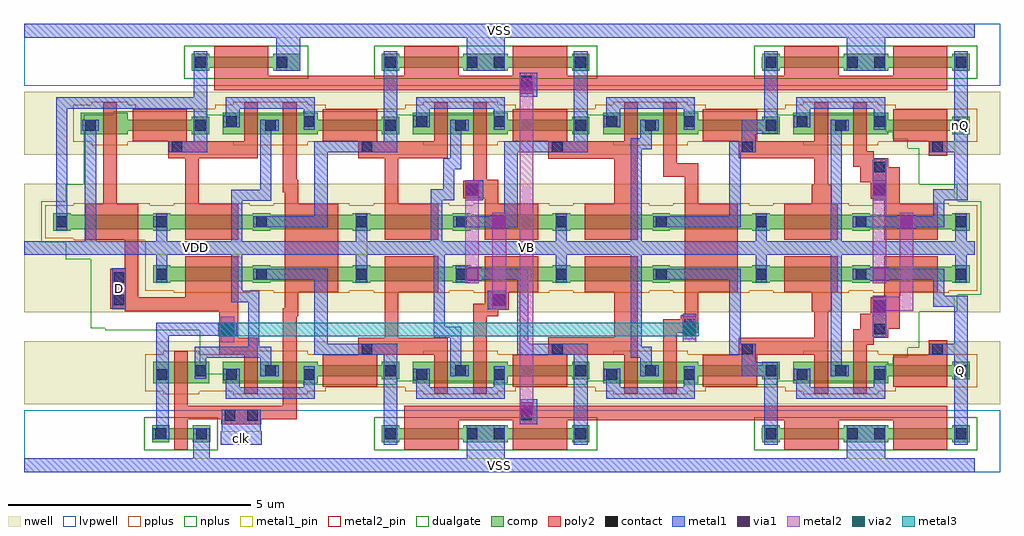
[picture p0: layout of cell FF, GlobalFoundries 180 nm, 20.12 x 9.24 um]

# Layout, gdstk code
import gdstk
lib = gdstk.Library(unit=1e-6, precision=1e-09)
def R(c, l, rs):  # rectangles x0, y0, x1, y1
    for r in rs: c.add(gdstk.rectangle(r[:2], r[2:], *l))
def A(c, l, x, y, w, h, nx, ny, dx, dy):  # array of equal rectangles
    R(c, l, [(x+i*dx, y+j*dy, x+i*dx+w, y+j*dy+h) for i in range(nx) for j in range(ny)])
nwell = (21, 0)
comp = (22, 0)
poly2 = (30, 0)
pplus = (31, 0)
nplus = (32, 0)
contact = (33, 0)
metal1 = (34, 0)
metal1_pin = (34, 10)
via1 = (35, 0)
metal2 = (36, 0)
metal2_pin = (36, 10)
via2 = (38, 0)
metal3 = (42, 0)
dualgate = (55, 0)
lvpwell = (204, 0)

c_ff = lib.new_cell('FF')
R(c_ff, nwell, [(0,1.26,20.125,2.56), (0,3.16,20.125,5.8), (0,6.4,20.125,7.7)])
A(c_ff, comp, 7.38, 0.47, 0.36, 0.07, 4, 2, 3.92, 0.29)
A(c_ff, comp, 4.1, 1.69, 1.96, 0.15, 4, 2, 3.92, 5.43)
A(c_ff, comp, 7.38, 1.77, 0.36, 0.07, 4, 2, 3.92, 0.29)
A(c_ff, comp, 4.1, 1.84, 3.64, 0.22, 4, 2, 3.92, 5.06)
A(c_ff, comp, 4.1, 2.06, 1.96, 0.07, 4, 2, 3.92, 4.77)
A(c_ff, comp, 2.66, 3.76, 0.36, 0.03, 9, 2, 2.06, 0.33)
A(c_ff, comp, 0.6, 4.84, 0.36, 0.03, 10, 2, 2.06, 0.33)
A(c_ff, comp, 3.46, 6.83, 0.36, 0.07, 5, 2, 3.92, 0.29)
A(c_ff, comp, 3.46, 8.13, 0.36, 0.07, 5, 2, 3.92, 0.29)
R(c_ff, comp, [(2.64,0.47,3,0.54), (3.48,0.47,3.84,0.54), (9.06,0.47,9.98,0.54), (16.9,0.47,17.82,0.54), (2.64,0.54,3.84,0.76), (7.38,0.54,11.66,0.76), (15.215,0.54,19.5,0.76), (2.64,0.76,3,0.83), (3.48,0.76,3.84,0.83), (9.06,0.76,9.98,0.83), (16.9,0.76,17.82,0.83), (2.66,1.69,3.82,2.13), (2.66,3.79,19.5,4.09), (0.6,4.87,19.5,5.17), (1.175,6.83,2.14,6.9), (1.175,6.9,3.82,7.12), (1.175,7.12,2.14,7.27), (5.14,8.13,5.7,8.2), (9.06,8.13,9.98,8.2), (16.9,8.13,17.82,8.2), (3.46,8.2,5.7,8.42), (7.38,8.2,11.66,8.42), (15.215,8.2,19.5,8.42), (5.14,8.42,5.7,8.49), (9.06,8.42,9.98,8.49), (16.9,8.42,17.82,8.49)])
A(c_ff, poly2, 4.54, 1.47, 0.28, 0.81, 4, 2, 3.92, 5.21)
A(c_ff, poly2, 6.16, 1.62, 1.12, 0.66, 4, 1, 3.92, 0)
A(c_ff, poly2, 7.44, 3.57, 1.1, 0.74, 3, 2, 2.06, 1.08)
A(c_ff, poly2, 2.24, 6.68, 1.12, 0.66, 5, 1, 3.92, 0)
R(c_ff, poly2, [(3.1,0.32,3.38,0.95), (7.84,0.32,8.96,0.93), (10.08,0.32,11.2,0.93), (15.68,0.32,16.8,0.93), (17.92,0.32,19.04,0.93), (4.065,0.85,4.895,0.95), (7.84,0.93,19.04,1.23), (3.1,0.95,5.62,1.23), (3.1,1.23,3.38,2.35), (5.34,1.23,5.62,3.07), (9.26,1.47,9.54,3.07), (13.18,1.47,13.46,2.73), (17.1,1.47,17.38,2.485), (4.025,2.28,4.82,2.63), (6.895,2.28,8.74,2.63), (10.815,2.28,12.66,2.635), (14.735,2.28,16.58,2.63), (18.655,2.28,19.04,2.575), (17.1,2.485,17.525,2.63), (4.025,2.63,4.42,3.18), (7.44,2.63,7.72,3.57), (16.3,2.63,16.58,3.18), (17.1,2.63,17.82,2.805), (12.175,2.635,12.66,3.57), (13.18,2.73,13.9,3.01), (17.245,2.805,17.82,2.82), (17.245,2.82,18.06,3.12), (13.54,3.01,13.9,3.09), (5.34,3.07,5.66,3.235), (9.26,3.07,9.78,3.21), (13.62,3.09,13.9,3.57), (17.46,3.12,18.06,3.46), (2.08,3.18,4.42,3.225), (16.245,3.18,16.655,3.57), (9.26,3.21,9.995,3.33), (1.78,3.225,4.42,3.46), (5.38,3.235,5.66,3.57), (9.5,3.33,9.995,3.57), (1.78,3.46,2.36,4.055), (3.32,3.46,4.42,4.31), (17.74,3.46,18.06,3.57), (5.38,3.57,6.48,5.39), (13.62,3.57,14.72,5.39), (15.68,3.57,16.78,4.31), (17.74,3.57,18.84,4.31), (2.08,4.055,2.36,4.65), (1.26,4.65,2.36,5.39), (3.32,4.65,4.42,5.39), (15.68,4.65,16.78,5.39), (17.74,4.65,18.84,5.39), (1.63,5.39,1.91,7.49), (3.32,5.39,3.6,6.33), (5.38,5.39,5.66,5.625), (7.44,5.39,7.72,6.33), (9.5,5.39,9.78,5.505), (12.175,5.39,12.66,6.325), (13.62,5.39,13.9,5.95), (16.245,5.39,16.655,5.78), (17.74,5.39,18.06,5.5), (17.46,5.5,18.06,5.84), (9.06,5.505,9.78,5.865), (5.34,5.625,5.66,5.89), (16.3,5.78,16.58,6.33), (17.245,5.84,18.06,6.14), (9.26,5.865,9.78,5.89), (5.34,5.89,5.62,7.49), (9.26,5.89,9.54,7.49), (13.18,5.95,13.9,6.23), (17.245,6.14,17.82,6.155), (17.1,6.155,17.82,6.33), (13.18,6.23,13.46,7.49), (10.815,6.325,12.66,6.68), (2.975,6.33,4.82,6.68), (6.895,6.33,8.74,6.68), (14.735,6.33,16.58,6.68), (17.1,6.33,17.525,6.475), (18.655,6.385,19.04,6.68), (17.1,6.475,17.38,7.49), (3.92,7.73,19.04,8.03), (3.92,8.03,5.04,8.64), (7.84,8.03,8.96,8.64), (10.08,8.03,11.2,8.64), (15.68,8.03,16.8,8.64), (17.92,8.03,19.04,8.64)])
A(c_ff, pplus, 4.31, 1.46, 1.54, 0.07, 4, 2, 3.92, 0.83)
A(c_ff, pplus, 7.86, 1.53, 2.28, 0.08, 3, 1, 3.92, 0)
A(c_ff, pplus, 3.09, 3.56, 1.56, 0.04, 8, 1, 2.06, 0)
A(c_ff, pplus, 1.03, 5.36, 1.56, 0.04, 9, 1, 2.06, 0)
A(c_ff, pplus, 4.31, 6.6, 1.54, 0.07, 4, 2, 3.92, 0.83)
A(c_ff, pplus, 3.94, 7.35, 2.28, 0.08, 4, 1, 3.92, 0)
R(c_ff, pplus, [(2.87,1.46,3.61,1.53), (2.5,1.53,6.22,1.61), (2.5,1.61,19.66,2.29), (2.87,2.29,3.61,2.36), (2.5,3.6,19.66,4.64), (1.03,4.64,19.66,4.68), (0.44,4.68,19.66,5.36), (1.4,6.6,2.14,6.67), (1.015,6.67,19.66,7.35), (1.015,7.35,2.3,7.43), (1.4,7.43,2.14,7.5)])
R(c_ff, nplus, [(2.48,0.31,4,0.99), (7.22,0.31,11.82,0.99), (15.06,0.31,19.66,0.38), (15.055,0.38,19.66,0.92), (15.06,0.92,19.66,0.99), (3.3,7.97,5.86,8.65), (7.22,7.97,11.82,8.65), (15.06,7.97,19.66,8.04), (15.055,8.04,19.66,8.58), (15.06,8.58,19.66,8.65)])
A(c_ff, contact, 6.965, 2.285, 0.22, 0.22, 4, 1, 3.92, 0)
A(c_ff, contact, 2.73, 3.83, 0.22, 0.22, 9, 1, 2.06, 0)
A(c_ff, contact, 0.67, 4.91, 0.22, 0.22, 10, 1, 2.06, 0)
A(c_ff, contact, 3.045, 6.455, 0.22, 0.22, 5, 1, 3.92, 0)
R(c_ff, contact, [(2.71,0.54,2.93,0.76), (3.55,0.54,3.77,0.76), (7.45,0.54,7.67,0.76), (9.13,0.54,9.35,0.76), (9.69,0.54,9.91,0.76), (11.37,0.54,11.59,0.76), (15.29,0.54,15.51,0.76), (16.97,0.54,17.19,0.76), (17.53,0.54,17.75,0.76), (19.21,0.54,19.43,0.76), (4.135,0.92,4.355,1.14), (4.605,0.92,4.825,1.14), (10.25,0.93,10.47,1.15), (2.73,1.76,2.95,1.98), (4.17,1.76,4.39,1.98), (5.77,1.76,5.99,1.98), (8.09,1.76,8.31,1.98), (9.69,1.76,9.91,1.98), (12.01,1.76,12.23,1.98), (13.61,1.76,13.83,1.98), (15.93,1.76,16.15,1.98), (17.53,1.76,17.75,1.98), (3.53,1.84,3.75,2.06), (4.97,1.84,5.19,2.06), (7.45,1.84,7.67,2.06), (8.89,1.84,9.11,2.06), (11.37,1.84,11.59,2.06), (12.81,1.84,13.03,2.06), (15.29,1.84,15.51,2.06), (16.73,1.84,16.95,2.06), (19.21,1.84,19.43,2.06), (17.53,2.7,17.75,2.92), (13.61,2.8,13.83,3.02), (17.53,3.17,17.75,3.39), (1.85,3.295,2.07,3.515), (9.69,3.295,9.91,3.515), (1.85,3.765,2.07,3.985), (17.53,5.57,17.75,5.79), (9.13,5.575,9.35,5.795), (17.53,6.04,17.75,6.26), (1.26,6.9,1.48,7.12), (3.53,6.9,3.75,7.12), (4.97,6.9,5.19,7.12), (7.45,6.9,7.67,7.12), (8.89,6.9,9.11,7.12), (11.37,6.9,11.59,7.12), (12.81,6.9,13.03,7.12), (15.29,6.9,15.51,7.12), (16.73,6.9,16.95,7.12), (19.21,6.9,19.43,7.12), (4.17,6.98,4.39,7.2), (5.77,6.98,5.99,7.2), (8.09,6.98,8.31,7.2), (9.69,6.98,9.91,7.2), (12.01,6.98,12.23,7.2), (13.61,6.98,13.83,7.2), (15.93,6.98,16.15,7.2), (17.53,6.98,17.75,7.2), (10.25,7.81,10.47,8.03), (3.53,8.2,3.75,8.42), (5.21,8.2,5.43,8.42), (7.45,8.2,7.67,8.42), (9.13,8.2,9.35,8.42), (9.69,8.2,9.91,8.42), (11.37,8.2,11.59,8.42), (15.29,8.2,15.51,8.42), (16.97,8.2,17.19,8.42), (17.53,8.2,17.75,8.42), (19.21,8.2,19.43,8.42)])
A(c_ff, metal1, 4.165, 1.375, 1.83, 0.23, 4, 2, 3.92, 5.98)
A(c_ff, metal1, 4.165, 1.605, 0.285, 0.15, 4, 2, 3.92, 5.6)
A(c_ff, metal1, 5.765, 1.605, 0.23, 0.435, 4, 2, 3.92, 5.315)
A(c_ff, metal1, 4.11, 1.755, 0.34, 0.23, 4, 2, 3.92, 5.22)
A(c_ff, metal1, 4.87, 1.835, 0.38, 0.23, 4, 2, 3.92, 5.06)
A(c_ff, metal1, 2.725, 3.77, 0.23, 0.57, 5, 1, 4.12, 0)
A(c_ff, metal1, 6.845, 4.62, 0.23, 0.57, 4, 1, 4.12, 0)
R(c_ff, metal1, [(0,-0.14,19.6,0.14), (3.49,0.14,3.83,0.765), (9.125,0.14,9.915,0.82), (16.965,0.14,17.755,0.82), (4.06,0.42,4.9,0.7), (7.42,0.42,7.7,2.28), (11.34,0.42,11.62,2.28), (15.26,0.42,15.54,1.835), (19.18,0.42,19.46,2.28), (2.65,0.535,2.99,0.765), (4.075,0.7,4.885,1.145), (2.725,0.765,2.985,2.675), (9.305,0.82,9.65,0.83), (10.22,0.845,10.58,1.36), (3.525,1.78,3.755,2.215), (14.8,1.835,15.54,2.12), (4.87,2.065,5.1,2.215), (8.79,2.065,9.02,2.63), (12.71,2.065,12.94,2.215), (16.63,2.065,16.86,4.34), (14.8,2.12,15.09,2.28), (3.525,2.215,5.1,2.445), (12.51,2.215,12.94,2.445), (5.98,2.28,7.7,2.51), (10.17,2.28,11.62,2.51), (14.545,2.28,15.09,2.51), (18.665,2.28,19.46,2.51), (4.62,2.445,4.85,3.365), (12.51,2.445,12.74,4.34), (5.98,2.51,6.26,3.825), (10.17,2.51,10.4,3.825), (14.545,2.51,14.775,3.825), (19.18,2.51,19.46,3.27), (13.58,2.6,13.86,3.12), (8.445,2.63,9.02,2.86), (17.525,2.64,17.755,2.66), (17.5,2.66,17.78,3.5), (2.725,2.675,4.39,2.935), (8.445,2.86,8.675,4.34), (9.56,3.215,9.94,3.595), (1.82,3.22,2.1,4.06), (18.745,3.27,19.46,3.5), (4.27,3.365,4.85,3.595), (18.745,3.5,18.975,3.825), (4.27,3.595,4.5,4.34), (8.905,3.77,9.135,3.8), (8.905,3.8,9.43,3.825), (17.45,3.8,17.83,3.825), (4.73,3.825,6.26,4.055), (8.905,3.825,10.4,4.055), (12.97,3.825,14.775,4.055), (17.09,3.825,18.975,4.055), (8.905,4.055,9.43,4.08), (17.45,4.055,17.83,4.08), (8.905,4.08,9.135,4.11), (0,4.34,7.075,4.345), (7.68,4.34,19.6,4.345), (0,4.345,19.6,4.62), (1.255,4.62,1.485,6.895), (2.725,4.62,2.955,4.905), (4.27,4.62,4.5,5.455), (8.39,4.62,8.62,5.465), (12.51,4.62,12.74,6.515), (16.63,4.62,16.86,6.895), (0.665,4.85,0.895,7.355), (9.66,4.88,9.94,4.89), (18.01,4.88,18.39,4.905), (9.61,4.89,9.99,4.905), (2.67,4.905,2.955,5.135), (4.73,4.905,6.26,5.135), (8.85,4.905,10.18,5.135), (12.97,4.905,14.775,5.135), (17.09,4.905,18.975,5.135), (2.725,5.135,2.955,5.19), (5.98,5.135,6.26,6.45), (9.61,5.135,10.18,5.15), (14.545,5.135,14.775,6.45), (18.01,5.135,18.39,5.16), (18.745,5.135,18.975,5.46), (9.66,5.15,10.18,5.16), (9.9,5.16,10.18,6.45), (4.27,5.455,5.1,5.685), (9.1,5.46,9.465,5.875), (17.5,5.46,17.78,6.3), (18.745,5.46,19.46,5.69), (8.39,5.465,8.87,5.695), (4.87,5.685,5.1,6.895), (19.18,5.69,19.46,6.45), (8.64,5.695,8.87,6.1), (8.64,6.1,9.02,6.33), (17.525,6.3,17.755,6.32), (8.79,6.33,9.02,6.895), (2.985,6.45,3.78,6.68), (5.98,6.45,7.7,6.68), (9.9,6.45,11.62,6.68), (14.545,6.45,15.09,6.68), (18.665,6.45,19.46,6.68), (12.51,6.515,12.94,6.745), (3.5,6.68,3.78,7.355), (7.42,6.68,7.7,8.54), (11.34,6.68,11.62,8.54), (14.8,6.68,15.09,6.84), (19.18,6.68,19.46,8.54), (12.71,6.745,12.94,6.895), (14.8,6.84,15.54,7.125), (1.2,6.895,1.54,7.125), (15.26,7.125,15.54,8.54), (0.665,7.355,3.78,7.585), (3.5,7.585,3.78,8.54), (10.22,7.6,10.58,8.09), (9.305,8.13,9.65,8.14), (5.205,8.14,5.7,8.82), (9.125,8.14,9.915,8.82), (16.965,8.14,17.755,8.82), (0,8.82,19.6,9.1)])
R(c_ff, metal1_pin, [(0,-0.14,19.6,0.14), (4.06,0.42,4.9,0.7), (19.18,0.42,19.46,3.5), (1.82,3.22,2.1,4.06), (0,4.34,7.075,4.62), (19.18,5.46,19.46,8.54), (0,8.82,19.6,9.1)])
R(c_ff, via1, [(10.23,1.04,10.49,1.3), (13.59,2.67,13.85,2.93), (4.07,2.675,4.33,2.935), (17.51,3.15,17.77,3.41), (9.67,3.275,9.93,3.535), (9.11,3.81,9.37,4.07), (17.51,3.81,17.77,4.07), (9.67,4.89,9.93,5.15), (18.07,4.89,18.33,5.15), (9.11,5.555,9.37,5.815), (17.51,5.555,17.77,5.815), (10.23,7.66,10.49,7.92)])
R(c_ff, metal2, [(10.22,0.98,10.5,7.98), (4.06,2.54,4.34,3.06), (13.58,2.55,13.86,3.07), (17.5,3.09,17.78,3.19), (17.5,3.19,18.34,3.47), (9.66,3.215,9.94,5.21), (18.06,3.47,18.34,5.21), (9.1,3.75,9.38,5.875), (17.5,3.75,17.78,5.875)])
R(c_ff, metal2_pin, [(10.22,0.98,10.5,7.98)])
R(c_ff, via2, [(4.07,2.67,4.33,2.93), (13.59,2.67,13.85,2.93)])
R(c_ff, metal3, [(4.01,2.66,13.91,2.94)])
A(c_ff, dualgate, 5.76, 1.66, 1.92, 0.07, 3, 1, 3.92, 0)
A(c_ff, dualgate, 1.84, 7.23, 1.92, 0.07, 4, 1, 3.92, 0)
R(c_ff, dualgate, [(4.14,1.73,17.78,1.88), (3.625,1.88,17.78,2.085), (3.625,2.085,17.925,2.23), (3.625,2.23,18.22,2.42), (3.625,2.42,18.46,2.78), (1.68,2.78,18.46,2.825), (1.38,2.825,18.46,3.17), (1.38,3.17,19.24,3.52), (1.38,3.52,19.74,4.25), (0.86,4.25,19.74,4.6), (0.36,4.6,19.74,5.44), (0.86,5.44,19.24,5.79), (1.23,5.79,18.46,6.54), (1.23,6.54,18.22,6.73), (1.23,6.73,17.925,6.875), (1.23,6.875,17.78,7.23)])
R(c_ff, lvpwell, [(0,-0.14,20.125,1.135), (4.075,1.135,4.885,1.145), (0,7.825,20.125,9.1)])
c_ff.add(gdstk.Label('VSS', (9.8,0), layer=34, texttype=10))
c_ff.add(gdstk.Label('VSS', (9.8,8.96), layer=34, texttype=10))
c_ff.add(gdstk.Label('VDD', (3.537,4.48), layer=34, texttype=10))
c_ff.add(gdstk.Label('D', (1.96,3.64), layer=34, texttype=10))
c_ff.add(gdstk.Label('VB', (10.36,4.48), layer=36, texttype=10))
c_ff.add(gdstk.Label('clk', (4.48,0.56), layer=34, texttype=10))
c_ff.add(gdstk.Label('nQ', (19.32,7), layer=34, texttype=10))
c_ff.add(gdstk.Label('Q', (19.32,1.96), layer=34, texttype=10))

lib.write_gds('FF.gds')
